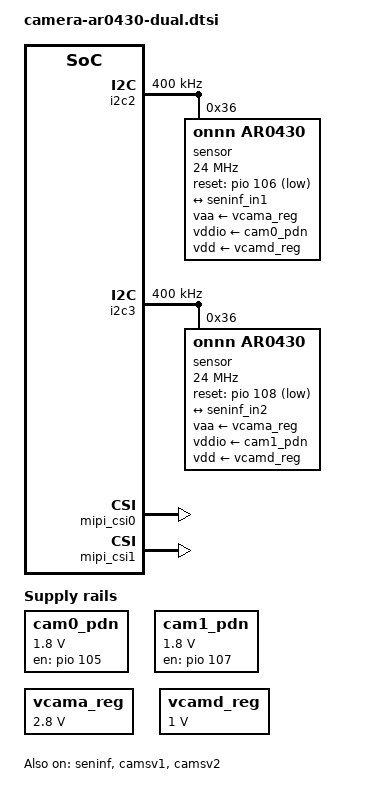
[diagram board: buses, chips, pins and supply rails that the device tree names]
// SPDX-License-Identifier: GPL-2.0
/*
 * Copyright (c) 2024 MediaTek Inc.
 *
 */

#include <dt-bindings/clock/mediatek,mt8365-clk.h>
#include <dt-bindings/gpio/gpio.h>
#include <dt-bindings/pinctrl/mt8365-pinfunc.h>

/dts-v1/;
/plugin/;

/ {
	fragment@0 {
		target-path = "/";
		__overlay__ {
			cam0_pdn: cam0-pdn-regulator {
				compatible = "regulator-fixed";
				regulator-name = "cam0_pdn";
				regulator-min-microvolt = <1800000>;
				regulator-max-microvolt = <1800000>;
				gpio = <&pio 105 GPIO_ACTIVE_HIGH>;
				startup-delay-us = <18000>;
				enable-active-high;
			};

			cam1_pdn: cam1-pdn-regulator {
				compatible = "regulator-fixed";
				regulator-name = "cam1_pdn";
				regulator-min-microvolt = <1800000>;
				regulator-max-microvolt = <1800000>;
				gpio = <&pio 107 GPIO_ACTIVE_HIGH>;
				startup-delay-us = <18000>;
				enable-active-high;
			};

			vcama_reg: vcama-regulator {
				compatible = "regulator-fixed";
				regulator-name = "vcama_dummy_regulator";
				regulator-min-microvolt = <2800000>;
				regulator-max-microvolt = <2800000>;
			};

			vcamd_reg: vcamd-regulator {
				compatible = "regulator-fixed";
				regulator-name = "vcamd_dummy_regulator";
				regulator-min-microvolt = <1000000>;
				regulator-max-microvolt = <1000000>;
			};
		};
	};

	fragment@1 {
		target = <&pio>;
		__overlay__ {
			cam0_pins_default: cam0_pins_default {
				pins_clk_rst {
					pinmux = <MT8365_PIN_65_CMMCLK0__FUNC_CMMCLK0>,
						 <MT8365_PIN_105_NCLE__FUNC_GPIO105>,
						 <MT8365_PIN_106_NCEB1__FUNC_GPIO106>;
				};
			};

			cam1_pins_default: cam1_pins_default {
				pins_clk_rst {
					pinmux = <MT8365_PIN_66_CMMCLK1__FUNC_CMMCLK1>,
						 <MT8365_PIN_107_NCEB0__FUNC_GPIO107>,
						 <MT8365_PIN_108_NREB__FUNC_GPIO108>;
				};
			};
		};
	};

	fragment@2 {
		target = <&i2c2>;
		__overlay__ {
			clock-frequency = <400000>;

			sensor@36 { /* Rear camera */
				compatible = "onnn,ar0430";
				reg = <0x36>;
				status = "okay";

				pinctrl-names = "default";
				pinctrl-0 = <&cam0_pins_default>;

				clocks = <&topckgen CLK_TOP_CAMTG_SEL>;
				assigned-clocks = <&topckgen CLK_TOP_CAMTG_SEL>;
				assigned-clock-parents = <&topckgen CLK_TOP_USB20_192M_D8>;
				clock-frequency = <24000000>;

				reset-gpios = <&pio 106 GPIO_ACTIVE_LOW>;

				vaa-supply =   <&vcama_reg>;
				vddio-supply = <&cam0_pdn>;
				vdd-supply =   <&vcamd_reg>;

				port {
					ar0430_1_endpoint: endpoint {
						remote-endpoint = <&seninf_in1>;
						data-lanes = <1 2 3 4>;
					};
				};
			};
		};
	};

	fragment@3 {
		target = <&i2c3>;
		__overlay__ {
			clock-frequency = <400000>;

			sensor@36 { /* Front camera */
				compatible = "onnn,ar0430";
				reg = <0x36>;
				status = "okay";

				pinctrl-names = "default";
				pinctrl-0 = <&cam1_pins_default>;

				clocks = <&topckgen CLK_TOP_CAMTG1_SEL>;
				assigned-clocks = <&topckgen CLK_TOP_CAMTG1_SEL>;
				assigned-clock-parents = <&topckgen CLK_TOP_USB20_192M_D8>;
				clock-frequency = <24000000>;

				reset-gpios = <&pio 108 GPIO_ACTIVE_LOW>;

				vaa-supply =   <&vcama_reg>;
				vddio-supply = <&cam1_pdn>;
				vdd-supply =   <&vcamd_reg>;

				port {
					ar0430_2_endpoint: endpoint {
						remote-endpoint = <&seninf_in2>;
						data-lanes = <1 2 3 4>;
					};
				};
			};
		};
	};

	fragment@4 {
		target = <&seninf>;
		__overlay__ {
			status = "okay";

			ports {
				port@0 {
					seninf_in1: endpoint {
						clock-lanes = <2>;
						data-lanes = <1 3 0 4>;
						remote-endpoint = <&ar0430_1_endpoint>;
					};
				};

				port@1 {
					seninf_in2: endpoint {
						clock-lanes = <2>;
						data-lanes = <1 3 0 4>;
						remote-endpoint = <&ar0430_2_endpoint>;
					};
				};
			};
		};
	};

	fragment@5 {
		target = <&camsv1>;
		__overlay__ {
			status = "okay";
		};
	};

	fragment@6 {
		target = <&camsv2>;
		__overlay__ {
			status = "okay";
		};
	};

	fragment@7 {
		target = <&mipi_csi0>;
		__overlay__ {
			status = "okay";
		};
	};

	fragment@8 {
		target = <&mipi_csi1>;
		__overlay__ {
			status = "okay";
		};
	};
};
